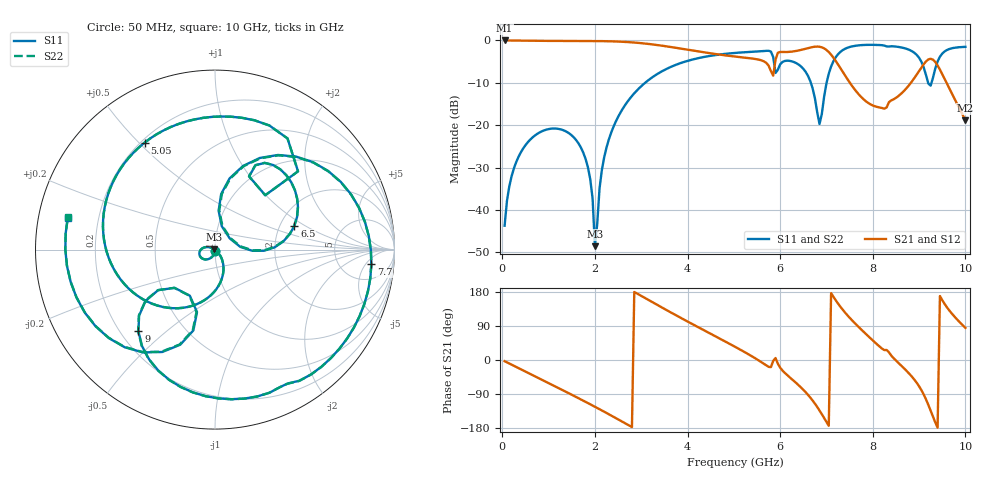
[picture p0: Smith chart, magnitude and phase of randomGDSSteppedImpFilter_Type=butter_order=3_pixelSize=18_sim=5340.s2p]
! freq	dB(S11)	phase(S11)	dB(S12)	phase(S12)
!  dB(S21)	phase(S21)	dB(S22)	phase(S22)
!S-par simulation data
#  GHz  S  DB  R 50
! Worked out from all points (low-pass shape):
!   200 points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, 50 MHz to 10 GHz, reference 50 ohm
!   highest |S21| = -0.01 dB at 50 MHz (marker M1); lowest = -18.8 dB at 10 GHz (marker M2)
!   |S21| within 3 dB of the highest: start of sweep to 4.471 GHz; 5.947 GHz to 7.072 GHz (1.124 GHz wide, 17.3 % of centre)
!   lowest |S11| = -48.6 dB at 2 GHz (marker M3), VSWR 1.01, Z = 49.7 + j0.141 ohm
!   |S11| at or under -10 dB: start of sweep to 3.084 GHz; 6.662 GHz to 7.003 GHz (340.3 MHz wide, 4.98 % of centre); 9.195 GHz to 9.268 GHz (72.81 MHz wide, 0.789 % of centre)
!   |S22| runs from -48.6 to -1.0 dB; largest |S21 - S12| = 0
!   S11 on the Smith chart (normalised r, x): 50 MHz: 1.00, -0.01; 5.05 GHz: 0.21, +0.52; 6.5 GHz: 2.39, +0.81; 7.7 GHz: 10, -7; 9 GHz: 0.27, -0.41; 10 GHz: 0.09, +0.11
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0.05  -43.74 -91.2  -0.01 -3.1  -0.01 -3.1  -43.75 -91.4
0.25  -30.23 -104.8  -0.03 -15.3  -0.03 -15.3  -30.24 -104.8
0.65  -22.93 -130.1  -0.08 -39.7  -0.08 -39.7  -22.93 -130.1
1.75  -26.52 162.3  -0.14 -107.4  -0.14 -107.4  -26.52 162.2
1.9  -32.81 153.6  -0.14 -116.9  -0.14 -116.9  -32.81 153.4
2  -48.57 157.7  -0.15 -123.4  -0.15 -123.4  -48.60 155.8
2.15  -30.60 -45.5  -0.17 -133.2  -0.17 -133.2  -30.60 -45.3
2.35  -21.80 -58.0  -0.21 -146.4  -0.21 -146.4  -21.80 -57.9
3.4  -7.58 -129.1  -1.17 141.7  -1.17 141.7  -7.58 -129.1
5.05  -2.93 123.3  -3.84 33.3  -3.84 33.3  -2.93 123.3
5.85  -3.93 43.3  -8.32 -2.5  -8.32 -2.5  -3.94 43.3
5.95  -6.94 65.0  -2.92 -9.6  -2.92 -9.6  -6.94 65.1
6.5  -6.70 16.8  -2.11 -78.5  -2.11 -78.5  -6.69 17.0
6.7  -11.27 -1.3  -1.57 -106.7  -1.57 -106.7  -11.24 -0.7
6.85  -19.73 37.0  -1.50 -133.2  -1.50 -133.2  -19.44 37.2
7  -10.12 83.7  -2.25 -163.4  -2.25 -163.4  -10.09 82.9
7.25  -3.25 48.9  -5.67 148.8  -5.67 148.8  -3.25 48.5
7.7  -1.16 -5.3  -12.77 86.5  -12.77 86.5  -1.16 -5.5
8.35  -1.44 -64.6  -14.56 20.3  -14.56 20.3  -1.44 -64.8
9  -4.10 -133.2  -7.23 -69.4  -7.23 -69.4  -4.09 -133.3
9.35  -6.63 -105.0  -5.09 -164.8  -5.09 -164.8  -6.62 -105.4
10  -1.52 167.9  -18.84 84.6  -18.84 84.6  -1.52 167.6
